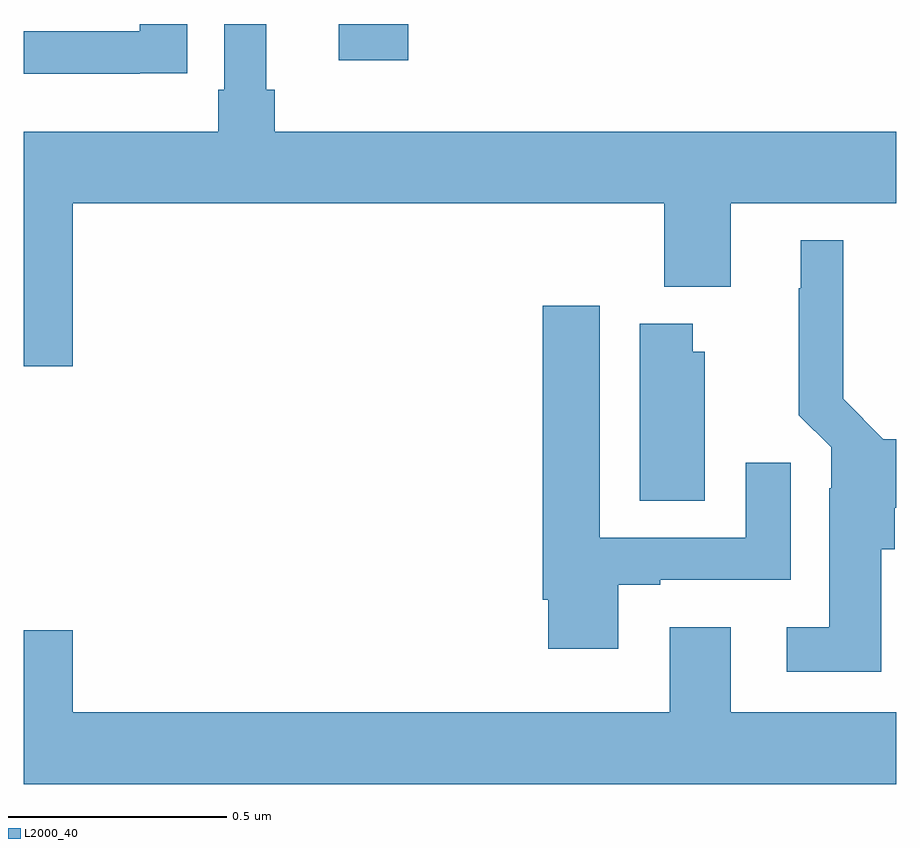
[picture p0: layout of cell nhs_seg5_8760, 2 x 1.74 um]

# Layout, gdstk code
import gdstk
lib = gdstk.Library(unit=1e-6, precision=1e-09)
def R(c, l, rs):  # rectangles x0, y0, x1, y1
    for r in rs: c.add(gdstk.rectangle(r[:2], r[2:], *l))
def P(c, l, *ps):  # polygons
    for p in ps: c.add(gdstk.Polygon(p, *l))
L2000_40 = (2000, 40)

nhs_seg5_8760 = lib.new_cell('nhs_seg5_8760')
R(nhs_seg5_8760, L2000_40, [(225.722,895.716,225.881,895.799)])
P(nhs_seg5_8760, L2000_40, [(225.112,895.388),(226.469,895.388),(226.469,895.196),(226.621,895.196),(226.621,895.388),(227,895.388),(227,895.552),(225.575,895.552),(225.575,895.648),(225.556,895.648),(225.556,895.799),(225.459,895.799),(225.459,895.648),(225.446,895.648),(225.446,895.552),(225,895.552),(225,895.014),(225.112,895.014)],
  [(225.266,895.686),(225.374,895.686),(225.374,895.799),(225.266,895.799),(225.266,895.782),(225,895.782),(225,895.685),(225.266,895.685)],
  [(226.966,894.594),(226.997,894.594),(226.997,894.689),(227,894.689),(227,894.847),(226.971,894.847),(226.879,894.94),(226.879,895.303),(226.781,895.303),(226.781,895.193),(226.777,895.193),(226.777,894.902),(226.851,894.828),(226.851,894.734),(226.847,894.734),(226.847,894.415),(226.749,894.415),(226.749,894.314),(226.966,894.314)],
  [(226.363,894.513),(226.459,894.513),(226.459,894.525),(226.759,894.525),(226.759,894.793),(226.655,894.793),(226.655,894.621),(226.321,894.621),(226.321,895.153),(226.19,895.153),(226.19,894.478),(226.202,894.478),(226.202,894.366),(226.363,894.366)],
  [(226.561,895.047),(226.534,895.047),(226.534,895.111),(226.412,895.111),(226.412,894.706),(226.561,894.706)],
  [(227,894.22),(226.621,894.22),(226.621,894.415),(226.481,894.415),(226.481,894.22),(225.112,894.22),(225.112,894.409),(225,894.409),(225,894.056),(227,894.056)])

lib.write_gds('nhs_seg5_8760.gds')
